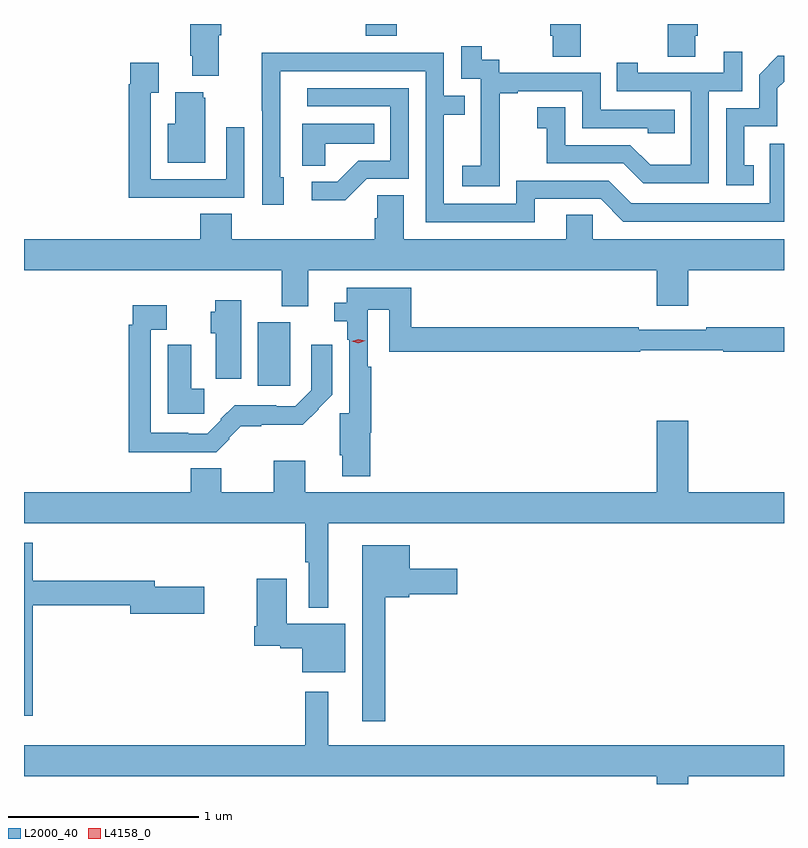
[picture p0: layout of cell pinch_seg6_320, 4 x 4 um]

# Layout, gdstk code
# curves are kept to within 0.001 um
import gdstk
lib = gdstk.Library(unit=1e-6, precision=1e-09)
def R(c, l, rs):  # rectangles x0, y0, x1, y1
    for r in rs: c.add(gdstk.rectangle(r[:2], r[2:], *l))
def P(c, l, *ps):  # polygons
    for p in ps: c.add(gdstk.Polygon(p, *l))
L2000_40 = (2000, 40)
L4158_0 = (4158, 0)

pinch_seg6_320 = lib.new_cell('pinch_seg6_320')
R(pinch_seg6_320, L2000_40, [(666.404,989.352,666.574,989.686), (666.971,991.193,667.136,991.256)])
P(pinch_seg6_320, L2000_40, [(668.103,991.256),(667.943,991.256),(667.943,991.194),(667.955,991.194),(667.955,991.084),(668.103,991.084)],
  [(668.707,991.194),(668.72,991.194),(668.72,991.256),(668.56,991.256),(668.56,991.084),(668.707,991.084)],
  [(666.199,991.196),(666.212,991.196),(666.212,991.256),(666.047,991.256),(666.047,991.09),(666.059,991.09),(666.059,990.983),(666.199,990.983)],
  [(667.677,990.607),(667.676,990.607),(667.676,990.891),(667.771,990.891),(667.771,990.903),(668.112,990.903),(668.112,990.708),(668.457,990.708),(668.457,990.681),(668.597,990.681),(668.597,990.804),(668.208,990.804),(668.208,990.999),(667.674,990.999),(667.674,991.068),(667.582,991.068),(667.582,991.138),(667.473,991.138),(667.473,990.969),(667.578,990.969),(667.578,990.74),(667.577,990.74),(667.577,990.511),(667.479,990.511),(667.479,990.401),(667.677,990.401)],
  [(668.778,990.903),(668.952,990.903),(668.952,991.111),(668.855,991.111),(668.855,990.999),(668.404,990.999),(668.404,991.051),(668.293,991.051),(668.293,990.903),(668.682,990.903),(668.682,990.514),(668.468,990.514),(668.364,990.618),(668.022,990.618),(668.022,990.817),(667.875,990.817),(667.875,990.707),(667.924,990.707),(667.924,990.522),(668.327,990.522),(668.432,990.417),(668.778,990.417)],
  [(667.861,990.336),(668.208,990.336),(668.328,990.216),(669.173,990.216),(669.173,990.627),(669.099,990.627),(669.099,990.312),(668.37,990.312),(668.25,990.432),(667.764,990.432),(667.764,990.309),(667.383,990.309),(667.383,990.778),(667.493,990.778),(667.493,990.879),(667.383,990.879),(667.383,991.104),(666.887,991.104),(666.887,991.106),(666.424,991.106),(666.424,990.799),(666.426,990.799),(666.426,990.306),(666.541,990.306),(666.541,990.45),(666.522,990.45),(666.522,991.008),(667.287,991.008),(667.287,990.213),(667.861,990.213)],
  [(669.014,990.513),(668.965,990.513),(668.965,990.717),(669.138,990.717),(669.138,990.918),(669.173,990.953),(669.173,991.088),(669.14,991.088),(669.042,990.99),(669.042,990.813),(668.868,990.813),(668.868,990.408),(669.014,990.408)],
  [(666.017,990.342),(666.333,990.342),(666.333,990.712),(666.237,990.712),(666.237,990.438),(665.841,990.438),(665.841,990.895),(665.881,990.895),(665.881,991.051),(665.733,991.051),(665.733,990.938),(665.725,990.938),(665.725,990.341),(666.017,990.341)],
  [(666.978,990.441),(667.197,990.441),(667.197,990.918),(666.663,990.918),(666.663,990.822),(667.101,990.822),(667.101,990.537),(666.932,990.537),(666.821,990.426),(666.687,990.426),(666.687,990.329),(666.865,990.329)],
  [(666.127,990.867),(666.116,990.867),(666.116,990.898),(665.969,990.898),(665.969,990.73),(665.93,990.73),(665.93,990.527),(666.127,990.527)],
  [(666.759,990.626),(667.016,990.626),(667.016,990.73),(666.638,990.73),(666.638,990.511),(666.759,990.511)],
  [(666.67,989.96),(668.504,989.96),(668.504,989.772),(668.668,989.772),(668.668,989.96),(669.173,989.96),(669.173,990.124),(668.166,990.124),(668.166,990.251),(668.027,990.251),(668.027,990.124),(667.171,990.124),(667.171,990.356),(667.032,990.356),(667.032,990.233),(667.019,990.233),(667.019,990.124),(666.266,990.124),(666.266,990.257),(666.101,990.257),(666.101,990.124),(665.173,990.124),(665.173,989.96),(666.53,989.96),(666.53,989.771),(666.67,989.771)],
  [(666.995,989.105),(667.001,989.105),(667.001,989.453),(666.981,989.453),(666.981,989.752),(667.095,989.752),(667.095,989.53),(668.417,989.53),(668.417,989.538),(668.854,989.538),(668.854,989.53),(669.173,989.53),(669.173,989.659),(668.764,989.659),(668.764,989.646),(668.408,989.646),(668.408,989.659),(667.211,989.659),(667.211,989.868),(666.872,989.868),(666.872,989.788),(666.806,989.788),(666.806,989.691),(666.873,989.691),(666.873,989.594),(666.885,989.594),(666.885,989.208),(666.836,989.208),(666.836,988.987),(666.848,988.987),(666.848,988.877),(666.995,988.877)],
  [(666.316,989.803),(666.179,989.803),(666.179,989.742),(666.155,989.742),(666.155,989.628),(666.182,989.628),(666.182,989.388),(666.316,989.388)],
  [(666.255,989.073),(666.251,989.077),(666.313,989.139),(666.421,989.139),(666.421,989.147),(666.641,989.147),(666.796,989.304),(666.796,989.569),(666.684,989.569),(666.684,989.328),(666.6,989.244),(666.5,989.244),(666.5,989.249),(666.281,989.249),(666.207,989.175),(666.21,989.172),(666.138,989.1),(666.038,989.1),(666.038,989.104),(665.841,989.104),(665.841,989.648),(665.924,989.648),(665.924,989.776),(665.745,989.776),(665.745,989.672),(665.725,989.672),(665.725,989.003),(666.185,989.003)],
  [(666.121,989.335),(666.052,989.335),(666.052,989.567),(665.93,989.567),(665.93,989.206),(666.121,989.206)],
  [(666.775,988.628),(669.173,988.628),(669.173,988.792),(668.668,988.792),(668.668,989.167),(668.504,989.167),(668.504,988.792),(666.652,988.792),(666.652,988.957),(666.488,988.957),(666.488,988.792),(666.211,988.792),(666.211,988.918),(666.05,988.918),(666.05,988.792),(665.173,988.792),(665.173,988.628),(666.654,988.628),(666.654,988.423),(666.671,988.423),(666.671,988.184),(666.775,988.184)],
  [(665.219,988.198),(665.732,988.198),(665.732,988.151),(666.121,988.151),(666.121,988.293),(665.86,988.293),(665.86,988.327),(665.219,988.327),(665.219,988.525),(665.173,988.525),(665.173,987.614),(665.219,987.614)],
  [(667.075,988.238),(667.2,988.238),(667.2,988.256),(667.453,988.256),(667.453,988.39),(667.204,988.39),(667.204,988.513),(666.953,988.513),(666.953,987.585),(667.075,987.585)],
  [(666.865,988.099),(666.556,988.099),(666.556,988.336),(666.398,988.336),(666.398,988.087),(666.386,988.087),(666.386,987.983),(666.522,987.983),(666.522,987.971),(666.638,987.971),(666.638,987.845),(666.865,987.845)],
  [(668.668,987.296),(669.173,987.296),(669.173,987.46),(666.775,987.46),(666.775,987.742),(666.654,987.742),(666.654,987.46),(665.173,987.46),(665.173,987.296),(668.504,987.296),(668.504,987.256),(668.668,987.256)])
P(pinch_seg6_320, L4158_0, [(666.933,989.577),(666.898,989.586),(666.898,989.587),(666.898,989.587),(666.933,989.597),(666.969,989.588),(666.969,989.588),(666.969,989.588)])

lib.write_gds('pinch_seg6_320.gds')
